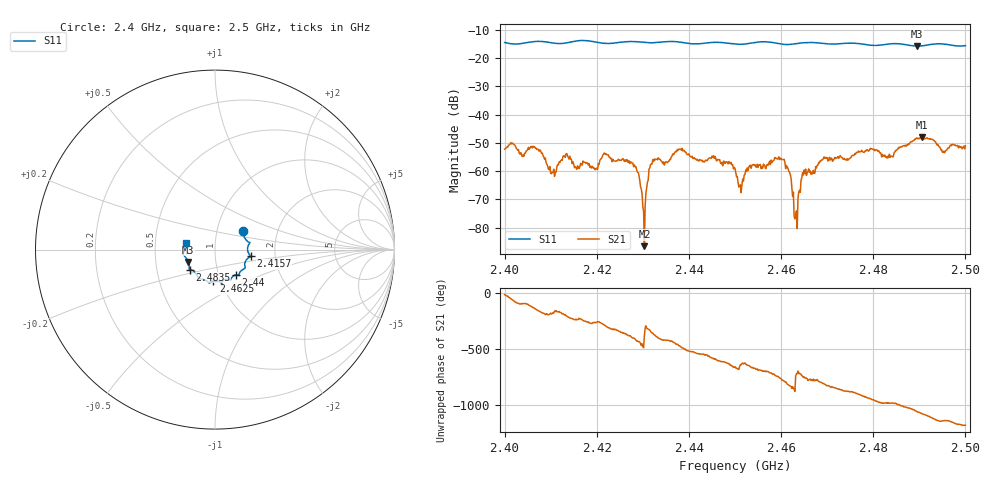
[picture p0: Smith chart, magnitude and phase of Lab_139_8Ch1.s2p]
# Hz S RI R 50
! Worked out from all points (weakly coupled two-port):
!   601 points, 2.4 GHz to 2.5 GHz, reference 50 ohm
!   highest |S21| = -48.02 dB at 2.4905 GHz (marker M1); lowest = -86.6 dB at 2.4303 GHz (marker M2)
!   lowest |S11| = -15.7 dB at 2.4895 GHz (marker M3), VSWR 1.39, Z = 36.8 - j5.17 ohm
!   |S11| at or under -10 dB: start of sweep to end of sweep
!   S12 and S22 are empty: the file has one direction only
!   S11 on the Smith chart (normalised r, x): 2.4 GHz: 1.33, +0.29; 2.4157 GHz: 1.49, -0.11; 2.44 GHz: 1.21, -0.35; 2.4625 GHz: 0.92, -0.34; 2.4835 GHz: 0.74, -0.17; 2.5 GHz: 0.72, +0.05
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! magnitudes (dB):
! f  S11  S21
! 2.4 GHz  -14.5  -52.2
! 2.4157 GHz  -13.9  -59.4
! 2.4167 GHz  -13.7  -57.7
! 2.4273 GHz  -14.1  -56.7
! 2.4303 GHz  -14.4  -86.6
! 2.4318 GHz  -14.6  -57.5
! 2.4333 GHz  -14.4  -55.3
! 2.44 GHz  -14.8  -53.9
! 2.45 GHz  -15.0  -59.0
! 2.4512 GHz  -15.1  -64.8
! 2.4535 GHz  -14.6  -59.0
! 2.46 GHz  -15.0  -55.6
! 2.4617 GHz  -15.2  -60.0
! 2.4625 GHz  -15.0  -69.0
! 2.4633 GHz  -14.8  -74.1
! 2.4648 GHz  -14.5  -61.4
! 2.4667 GHz  -14.4  -60.6
! 2.4833 GHz  -15.0  -55.2
! 2.4835 GHz  -15.0  -54.0
! 2.4895 GHz  -15.7  -48.3
! 2.4905 GHz  -15.6  -48.0
! 2.5 GHz  -15.6  -51.1
